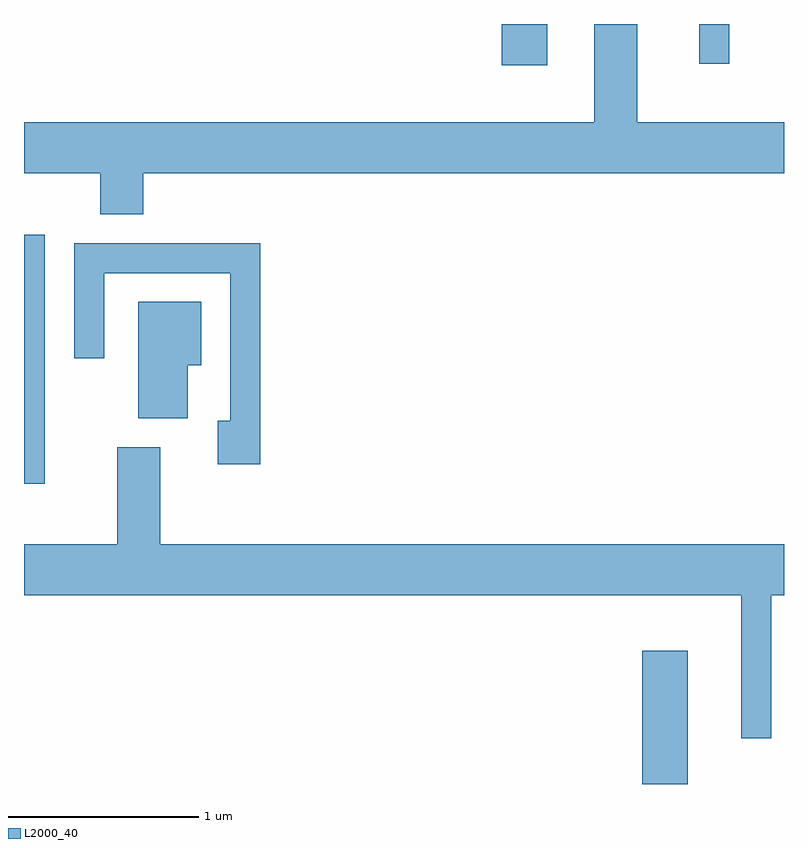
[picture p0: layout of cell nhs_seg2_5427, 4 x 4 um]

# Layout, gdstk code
import gdstk
lib = gdstk.Library(unit=1e-6, precision=1e-09)
def R(c, l, rs):  # rectangles x0, y0, x1, y1
    for r in rs: c.add(gdstk.rectangle(r[:2], r[2:], *l))
def P(c, l, *ps):  # polygons
    for p in ps: c.add(gdstk.Polygon(p, *l))
L2000_40 = (2000, 40)

nhs_seg2_5427 = lib.new_cell('nhs_seg2_5427')
R(nhs_seg2_5427, L2000_40, [(348.866,1011.802,349.104,1012.504), (345.611,1013.381,345.719,1014.694), (348.126,1015.586,348.364,1015.802), (349.166,1015.593,349.324,1015.802)])
P(nhs_seg2_5427, L2000_40, [(346.239,1015.016),(349.611,1015.016),(349.611,1015.284),(348.839,1015.284),(348.839,1015.802),(348.611,1015.802),(348.611,1015.284),(345.611,1015.284),(345.611,1015.016),(346.011,1015.016),(346.011,1014.801),(346.239,1014.801)],
  [(346.854,1014.649),(345.876,1014.649),(345.876,1014.043),(346.034,1014.043),(346.034,1014.491),(346.696,1014.491),(346.696,1013.714),(346.631,1013.714),(346.631,1013.486),(346.854,1013.486)],
  [(346.474,1014.006),(346.544,1014.006),(346.544,1014.339),(346.211,1014.339),(346.211,1013.726),(346.474,1013.726)],
  [(349.544,1012.796),(349.611,1012.796),(349.611,1013.064),(346.329,1013.064),(346.329,1013.574),(346.101,1013.574),(346.101,1013.064),(345.611,1013.064),(345.611,1012.796),(349.386,1012.796),(349.386,1012.043),(349.544,1012.043)])

lib.write_gds('nhs_seg2_5427.gds')
